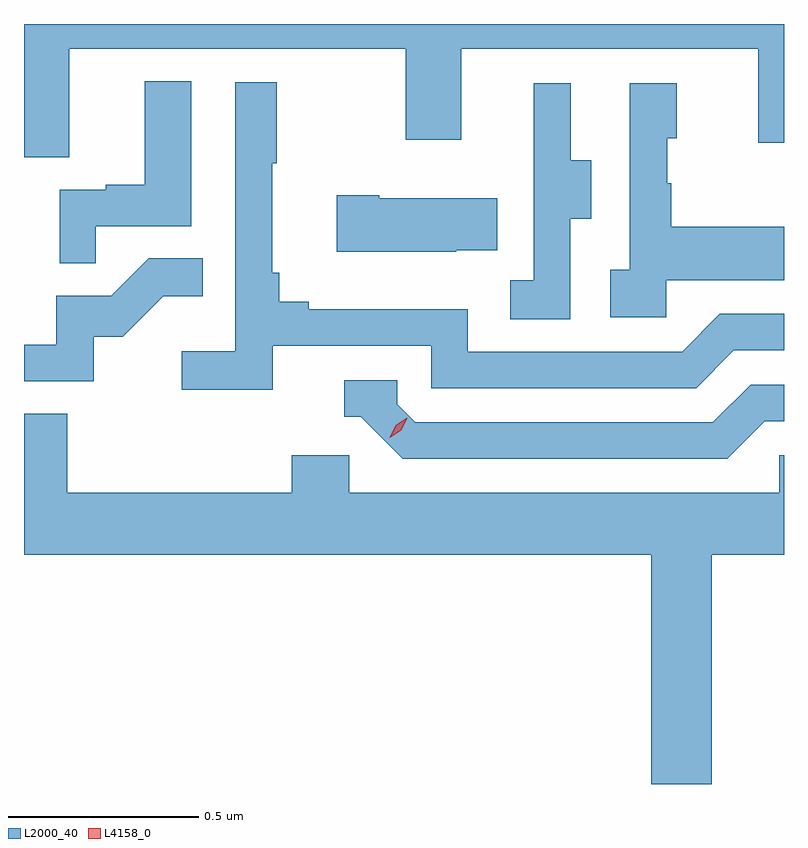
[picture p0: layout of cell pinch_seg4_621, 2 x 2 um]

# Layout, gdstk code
import gdstk
lib = gdstk.Library(unit=1e-6, precision=1e-09)
def P(c, l, *ps):  # polygons
    for p in ps: c.add(gdstk.Polygon(p, *l))
L2000_40 = (2000, 40)
L4158_0 = (4158, 0)

pinch_seg4_621 = lib.new_cell('pinch_seg4_621')
P(pinch_seg4_621, L2000_40, [(1022.527,779.504),(1023.412,779.504),(1023.412,779.265),(1023.559,779.265),(1023.559,779.504),(1024.34,779.504),(1024.34,779.256),(1024.408,779.256),(1024.408,779.569),(1022.408,779.569),(1022.408,779.218),(1022.527,779.218)],
  [(1022.597,779.037),(1022.848,779.037),(1022.848,779.419),(1022.726,779.419),(1022.726,779.146),(1022.623,779.146),(1022.623,779.133),(1022.502,779.133),(1022.502,778.939),(1022.597,778.939)],
  [(1023.062,778.722),(1023.48,778.722),(1023.48,778.611),(1024.177,778.611),(1024.276,778.71),(1024.408,778.71),(1024.408,778.806),(1024.239,778.806),(1024.14,778.707),(1023.576,778.707),(1023.576,778.819),(1023.157,778.819),(1023.157,778.838),(1023.08,778.838),(1023.08,778.915),(1023.061,778.915),(1023.061,779.203),(1023.073,779.203),(1023.073,779.416),(1022.964,779.416),(1022.964,778.708),(1022.823,778.708),(1022.823,778.606),(1023.062,778.606)],
  [(1023.846,779.056),(1023.901,779.056),(1023.901,779.211),(1023.847,779.211),(1023.847,779.413),(1023.749,779.413),(1023.749,779.199),(1023.75,779.199),(1023.75,778.895),(1023.687,778.895),(1023.687,778.792),(1023.846,778.792)],
  [(1024.098,778.895),(1024.408,778.895),(1024.408,779.035),(1024.111,779.035),(1024.111,779.15),(1024.101,779.15),(1024.101,779.268),(1024.126,779.268),(1024.126,779.413),(1024.002,779.413),(1024.002,778.922),(1023.951,778.922),(1023.951,778.797),(1024.098,778.797)],
  [(1023.545,778.973),(1023.653,778.973),(1023.653,779.11),(1023.343,779.11),(1023.343,779.118),(1023.231,779.118),(1023.231,778.97),(1023.545,778.97)],
  [(1022.592,778.746),(1022.668,778.746),(1022.775,778.853),(1022.879,778.853),(1022.879,778.952),(1022.736,778.952),(1022.638,778.854),(1022.493,778.854),(1022.493,778.725),(1022.408,778.725),(1022.408,778.629),(1022.592,778.629)],
  [(1024.357,778.524),(1024.408,778.524),(1024.408,778.62),(1024.32,778.62),(1024.221,778.521),(1023.438,778.521),(1023.39,778.569),(1023.39,778.632),(1023.251,778.632),(1023.251,778.536),(1023.294,778.536),(1023.405,778.425),(1024.258,778.425)],
  [(1024.218,778.172),(1024.408,778.172),(1024.408,778.434),(1024.395,778.434),(1024.395,778.336),(1023.264,778.336),(1023.264,778.434),(1023.113,778.434),(1023.113,778.336),(1022.522,778.336),(1022.522,778.544),(1022.408,778.544),(1022.408,778.172),(1024.058,778.172),(1024.058,777.569),(1024.218,777.569)])
P(pinch_seg4_621, L4158_0, [(1023.37,778.48),(1023.37,778.48),(1023.386,778.513),(1023.416,778.533),(1023.416,778.533),(1023.416,778.533),(1023.401,778.5),(1023.37,778.48)])

lib.write_gds('pinch_seg4_621.gds')
